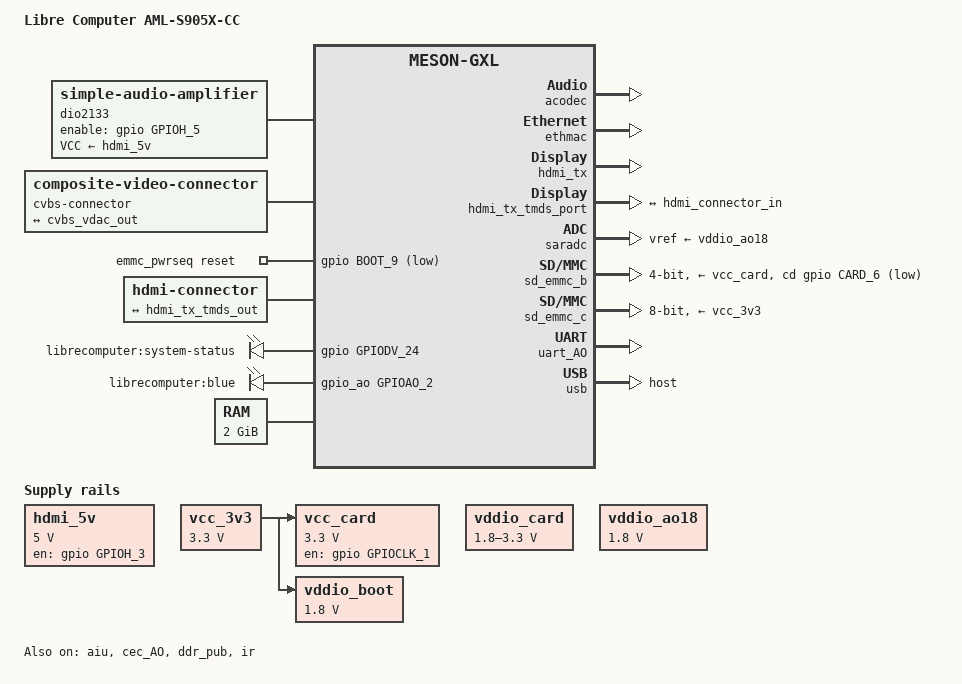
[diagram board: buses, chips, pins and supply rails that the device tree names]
// SPDX-License-Identifier: (GPL-2.0+ OR MIT)
/*
 * Copyright (c) 2017 BayLibre, SAS.
 * Author: Neil Armstrong <narmstrong@baylibre.com>
 * Author: Jerome Brunet <jbrunet@baylibre.com>
 */

/*
 * AML-S905X-CC board body, shared by the two firmware layouts this board
 * boots: meson-gxl-s905x-libretech-cc.dts (vendor chain) and
 * meson-gxl-s905x-libretech-cc-libre.dts (libre chain). The firmware
 * reservations are the leaf's, never this file's.
 */

#include <dt-bindings/input/input.h>
#include <dt-bindings/sound/meson-aiu.h>

#include "meson-gxl-s905x.dtsi"

/ {
	compatible = "libretech,aml-s905x-cc", "amlogic,s905x",
		     "amlogic,meson-gxl";
	model = "Libre Computer AML-S905X-CC";

	aliases {
		serial0 = &uart_AO;
		ethernet0 = &ethmac;
	};

	dio2133: analog-amplifier {
		compatible = "simple-audio-amplifier";
		sound-name-prefix = "AU2";
		VCC-supply = <&hdmi_5v>;
		enable-gpios = <&gpio GPIOH_5 GPIO_ACTIVE_HIGH>;
	};

	chosen {
		stdout-path = "serial0:115200n8";
	};

	cvbs-connector {
		compatible = "composite-video-connector";

		port {
			cvbs_connector_in: endpoint {
				remote-endpoint = <&cvbs_vdac_out>;
			};
		};
	};

	emmc_pwrseq: emmc-pwrseq {
		compatible = "mmc-pwrseq-emmc";
		reset-gpios = <&gpio BOOT_9 GPIO_ACTIVE_LOW>;
	};

	hdmi-connector {
		compatible = "hdmi-connector";
		type = "a";

		port {
			hdmi_connector_in: endpoint {
				remote-endpoint = <&hdmi_tx_tmds_out>;
			};
		};
	};

	leds {
		compatible = "gpio-leds";

		led-system {
			label = "librecomputer:system-status";
			gpios = <&gpio GPIODV_24 GPIO_ACTIVE_HIGH>;
			default-state = "on";
			panic-indicator;
		};

		led-blue {
			label = "librecomputer:blue";
			gpios = <&gpio_ao GPIOAO_2 GPIO_ACTIVE_HIGH>;
			linux,default-trigger = "heartbeat";
		};
	};

	memory@0 {
		device_type = "memory";
		reg = <0x0 0x0 0x0 0x80000000>;
	};

	hdmi_5v: regulator-hdmi-5v {
		compatible = "regulator-fixed";

		regulator-name = "HDMI_5V";
		regulator-min-microvolt = <5000000>;
		regulator-max-microvolt = <5000000>;

		gpio = <&gpio GPIOH_3 GPIO_ACTIVE_HIGH>;
		enable-active-high;
		regulator-always-on;
	};

	vcc_3v3: regulator-vcc-3v3 {
		compatible = "regulator-fixed";
		regulator-name = "VCC_3V3";
		regulator-min-microvolt = <3300000>;
		regulator-max-microvolt = <3300000>;
	};

	vcc_card: regulator-vcc-card {
		compatible = "regulator-fixed";
		regulator-name = "VCC_CARD";
		regulator-min-microvolt = <3300000>;
		regulator-max-microvolt = <3300000>;
		vin-supply = <&vcc_3v3>;

		gpio = <&gpio GPIOCLK_1 GPIO_ACTIVE_HIGH>;
		enable-active-high;
	};

	vddio_card: regulator-vddio-card {
		compatible = "regulator-gpio";
		regulator-name = "VDDIO_CARD";
		regulator-min-microvolt = <1800000>;
		regulator-max-microvolt = <3300000>;

		gpios = <&gpio_ao GPIOAO_3 GPIO_ACTIVE_HIGH>;
		gpios-states = <0>;

		states = <3300000 0>,
			 <1800000 1>;

		regulator-settling-time-up-us = <200>;
		regulator-settling-time-down-us = <50000>;
	};

	vddio_ao18: regulator-vddio-ao18 {
		compatible = "regulator-fixed";
		regulator-name = "VDDIO_AO18";
		regulator-min-microvolt = <1800000>;
		regulator-max-microvolt = <1800000>;
	};

	/* This is provided by LDOs on the eMMC daugther card */
	vddio_boot: regulator-vddio-boot {
		compatible = "regulator-fixed";
		regulator-name = "VDDIO_BOOT";
		regulator-min-microvolt = <1800000>;
		regulator-max-microvolt = <1800000>;
		vin-supply = <&vcc_3v3>;
	};

	sound {
		compatible = "amlogic,gx-sound-card";
		model = "LIBRETECH-CC";
		audio-aux-devs = <&dio2133>;
		audio-widgets = "Line", "Lineout";
		audio-routing = "AU2 INL", "ACODEC LOLN",
				"AU2 INR", "ACODEC LORN",
				"Lineout", "AU2 OUTL",
				"Lineout", "AU2 OUTR";
		clocks = <&clkc CLKID_MPLL0>,
			 <&clkc CLKID_MPLL1>,
			 <&clkc CLKID_MPLL2>;

		assigned-clocks = <&clkc CLKID_MPLL0>,
				  <&clkc CLKID_MPLL1>,
				  <&clkc CLKID_MPLL2>;
		assigned-clock-parents = <0>, <0>, <0>;
		assigned-clock-rates = <294912000>,
				       <270950400>,
				       <393216000>;

		dai-link-0 {
			sound-dai = <&aiu AIU_CPU CPU_I2S_FIFO>;
		};

		dai-link-1 {
			sound-dai = <&aiu AIU_CPU CPU_I2S_ENCODER>;
			dai-format = "i2s";
			mclk-fs = <256>;

			codec-0 {
				sound-dai = <&aiu AIU_HDMI CTRL_I2S>;
			};

			codec-1 {
				sound-dai = <&aiu AIU_ACODEC CTRL_I2S>;
			};
		};

		dai-link-2 {
			sound-dai = <&aiu AIU_HDMI CTRL_OUT>;

			codec-0 {
				sound-dai = <&hdmi_tx>;
			};
		};

		dai-link-3 {
			sound-dai = <&aiu AIU_ACODEC CTRL_OUT>;

			codec-0 {
				sound-dai = <&acodec>;
			};
		};
	};
};

&acodec {
	AVDD-supply = <&vddio_ao18>;
	status = "okay";
};

&aiu {
	status = "okay";
};

&cec_AO {
	status = "okay";
	pinctrl-0 = <&ao_cec_pins>;
	pinctrl-names = "default";
	hdmi-phandle = <&hdmi_tx>;
};

&cvbs_vdac_port {
	cvbs_vdac_out: endpoint {
		remote-endpoint = <&cvbs_connector_in>;
	};
};

/* PUB VT reads verified on Linux, open chain: enable the monitor. */
&ddr_pub {
	status = "okay";
};

&ethmac {
	status = "okay";
};

&internal_phy {
	pinctrl-0 = <&eth_link_led_pins>, <&eth_act_led_pins>;
	pinctrl-names = "default";
};

&ir {
	status = "okay";
	pinctrl-0 = <&remote_input_ao_pins>;
	pinctrl-names = "default";
};

&hdmi_tx {
	status = "okay";
	pinctrl-0 = <&hdmi_hpd_pins>, <&hdmi_i2c_pins>;
	pinctrl-names = "default";
	hdmi-supply = <&hdmi_5v>;
};

&hdmi_tx_tmds_port {
	hdmi_tx_tmds_out: endpoint {
		remote-endpoint = <&hdmi_connector_in>;
	};
};

&gpio_ao {
	gpio-line-names = "UART TX",
			  "UART RX",
			  "Blue LED",
			  "SDCard Voltage Switch",
			  "7J1 Header Pin5",
			  "7J1 Header Pin3",
			  "7J1 Header Pin12",
			  "IR In",
			  "9J3 Switch HDMI CEC/7J1 Header Pin11",
			  "7J1 Header Pin13",
			  /* GPIO_TEST_N */
			  "7J1 Header Pin15";
};

&gpio {
	gpio-line-names = /* Bank GPIOZ */
			  "", "", "", "", "", "", "",
			  "", "", "", "", "", "", "",
			  "Eth Link LED", "Eth Activity LED",
			  /* Bank GPIOH */
			  "HDMI HPD", "HDMI SDA", "HDMI SCL",
			  "HDMI_5V_EN", "9J1 Header Pin2",
			  "Analog Audio Mute",
			  "2J3 Header Pin6",
			  "2J3 Header Pin5",
			  "2J3 Header Pin4",
			  "2J3 Header Pin3",
			  /* Bank BOOT */
			  "eMMC D0", "eMMC D1", "eMMC D2", "eMMC D3",
			  "eMMC D4", "eMMC D5", "eMMC D6", "eMMC D7",
			  "eMMC Clk", "eMMC Reset", "eMMC CMD",
			  "ALT BOOT MODE", "", "", "", "eMMC Data Strobe",
			  /* Bank CARD */
			  "SDCard D1", "SDCard D0", "SDCard CLK", "SDCard CMD",
			  "SDCard D3", "SDCard D2", "SDCard Det",
			  /* Bank GPIODV */
			  "", "", "", "", "", "", "", "", "", "", "", "",
			  "", "", "", "", "", "", "", "", "", "", "", "",
			  "Green LED", "VCCK Enable",
			  "7J1 Header Pin27", "7J1 Header Pin28",
			  "VCCK Regulator", "VDDEE Regulator",
			  /* Bank GPIOX */
			  "7J1 Header Pin22", "7J1 Header Pin26",
			  "7J1 Header Pin36", "7J1 Header Pin38",
			  "7J1 Header Pin40", "7J1 Header Pin37",
			  "7J1 Header Pin33", "7J1 Header Pin35",
			  "7J1 Header Pin19", "7J1 Header Pin21",
			  "7J1 Header Pin24", "7J1 Header Pin23",
			  "7J1 Header Pin8", "7J1 Header Pin10",
			  "7J1 Header Pin16", "7J1 Header Pin18",
			  "7J1 Header Pin32", "7J1 Header Pin29",
			  "7J1 Header Pin31",
			  /* Bank GPIOCLK */
			  "7J1 Header Pin7", "VCC_CARD EN";
};

&saradc {
	status = "okay";
	vref-supply = <&vddio_ao18>;
};

/* SD card */
&sd_emmc_b {
	status = "okay";
	pinctrl-0 = <&sdcard_pins>;
	pinctrl-1 = <&sdcard_clk_gate_pins>;
	pinctrl-names = "default", "clk-gate";

	bus-width = <4>;
	cap-sd-highspeed;
	sd-uhs-sdr50;
	sd-uhs-ddr50;
	sd-uhs-sdr104;
	max-frequency = <166666667>;
	disable-wp;

	cd-gpios = <&gpio CARD_6 GPIO_ACTIVE_LOW>;

	vmmc-supply = <&vcc_card>;
	vqmmc-supply = <&vddio_card>;
};

/* eMMC */
&sd_emmc_c {
	status = "okay";
	/* HS200 max: no HS400; do not claim emmc_ds (BOOT_15) */
	pinctrl-0 = <&emmc_pins>;
	pinctrl-1 = <&emmc_clk_gate_pins>;
	pinctrl-names = "default", "clk-gate";

	bus-width = <8>;
	cap-mmc-highspeed;
	mmc-ddr-1_8v;
	mmc-hs200-1_8v;
	max-frequency = <200000000>;
	disable-wp;

	mmc-pwrseq = <&emmc_pwrseq>;
	vmmc-supply = <&vcc_3v3>;
	vqmmc-supply = <&vddio_boot>;
};

&uart_AO {
	status = "okay";
	pinctrl-0 = <&uart_ao_a_pins>;
	pinctrl-names = "default";
};

&usb {
	status = "okay";
	dr_mode = "host";
};

&usb2_phy0 {
	/*
	 * even though the schematics don't show it:
	 * HDMI_5V is also used as supply for the USB VBUS.
	 */
	phy-supply = <&hdmi_5v>;
};

/ {
	reserved-memory {
		linux,cma {
			/*
			 * 384 MiB. NOT 7/32 of RAM (448 MiB at 2 GiB): what
			 * binds is the largest CONTIGUOUS run under the 1 GiB
			 * alloc-ranges ceiling u-boot writes, and the KASLR'd
			 * kernel image lands inside it. hwrom@0 + secmon@5000000
			 * + ramoops@7400000 leave a 904 MiB run; a ~72 MiB image
			 * at the worst point halves it to 416 MiB, which is the
			 * largest request satisfiable on EVERY boot. 448 exceeds
			 * it and falls silently to the 128 MiB Kconfig default
			 * on a minority of boots.
			 */
			size = <0x0 0x18000000>;
		};
	};
};

/*
 * Open-SC SCMI package (N30): the same shape the AML-S905X-CC-V2 board DTS
 * has shipped since 2f08e6bb30609, mirrored onto v1 now that v1's own board
 * contract cells are sourced (scp-firmware boards/aml-s905x-cc.c, scmi-plan
 * G5/D5+D6) and the v1-built SC payload boots paired under the SPL board-id
 * guard (defconfig CONFIG_MESON_GXL_SCP_BOARD_ID=0x1).  This is the DT half
 * of the N27 reconciliation: v1 always had the NS fixup COMPILED
 * (be165435a3d era), what it never had was the package the fixup flips.
 *
 * This board also ships two firmware builds that boot this one DTB: the
 * vendor chain, whose BL30 speaks SCPI on MHU channel 2 / cpu_scp_hpri, and
 * the open chain (u-boot libretech-cc_libre_defconfig), whose SC answers
 * SCMI on the same mailbox and the same shared memory. The DTB cannot know
 * which is flashed, so the open-chain U-Boot says so at boot: its
 * ft_board_setup() (CONFIG_MESON_GX_LIBRE_SCMI_FIXUP) flips the nodes below
 * to "okay", flips /scpi to "disabled", and points each CPU's `clocks` at
 * protocol@14 and `power-domains` at protocol@13 -- but ONLY after one SCMI
 * BASE PROTOCOL_VERSION on the NS channel is ANSWERED (the guard's v2 path:
 * on a mute SC every flip is skipped and the board boots with the DTB's own
 * clocks). The vendor chain never touches them, so on a vendor boot this
 * whole block is inert and /scpi stays the CPU clock provider exactly as
 * before.
 *
 * Every node the fixup must find carries a label: the kernel's dtc emits a
 * phandle for a labelled node (-@, CONFIG_OF_OVERLAY), and the fixup refuses
 * -- and says so -- rather than mint one.
 *
 * Address map -- SoC-family facts already carried by this dtsi pair (the
 * mailbox and sram nodes are meson-gx.dtsi's own): MHU doorbell
 * mailbox@404 -> 0xC883C404 (amlogic,meson-gxbb-mhu), channel 2 = HP = the
 * OSPM channel; NS shmem cpu_scp_hpri = sram@c8000000 + 0x13400, 0x400
 * (only KiB 76/77 of that SRAM are non-secure permitted).  Reference: the
 * v2 board's comment block, which this mirrors verbatim on the family
 * constants.
 *
 * NODE ORDER IS LOAD-BEARING -- protocol@14 MUST come before protocol@13:
 * scmi-cpufreq's OPP setup resolves the CPUs' `clocks` phandle into the
 * clock provider, and with perf ahead of clock every OPP add fails with -19
 * and no cpufreq policy exists.  Measured both ways on hardware on v2.
 * Do not tidy this list.
 *
 * SENSOR (0x15): the open SC serves the die temperature as SCMI sensor 2,
 * "soc-temp", millidegrees, from this die's eFuse thermal trim (claude
 * amlogic n1225), and its adaptive refresh governor takes one sample per
 * read (n1226/n1227) -- so the soc-thermal zone below polls every second.  The
 * zone exists only when scmi-hwmon binds, i.e. on the open chain; a vendor
 * boot leaves /firmware/scmi disabled and nothing here registers.
 */
&cpu_scp_hpri {
	compatible = "arm,scmi-shmem", "amlogic,meson-gxbb-scp-shmem";
};

&cpu_scp_lpri {
	compatible = "arm,scmi-shmem", "amlogic,meson-gxbb-scp-shmem";
};

/ {
	firmware {
		scmi: scmi {
			compatible = "arm,scmi";
			status = "disabled";

			/*
			 * tx = MHU ch2 (HP / OSPM requests) on cpu_scp_hpri, rx =
			 * MHU ch1 (LP / SCP -> AP notifications) on cpu_scp_lpri:
			 * the v2 board's shape (arm_scmi mailbox transport, two
			 * mboxes + two shmems).  With only tx, a notification the
			 * SC posts into lpri is never consumed and every later one
			 * is dropped.  An SC without SCP_GXL_LP_TRANSPORT simply
			 * never rings ch1; requests stay on ch2.
			 */
			mboxes = <&mailbox 2>, <&mailbox 1>;
			mbox-names = "tx", "rx";
			shmem = <&cpu_scp_hpri>, <&cpu_scp_lpri>;

			#address-cells = <1>;
			#size-cells = <0>;

			scmi_power: protocol@11 {
				reg = <0x11>;
				#power-domain-cells = <1>;
			};

			scmi_clk: protocol@14 {
				reg = <0x14>;
				#clock-cells = <1>;
			};

			scmi_syspower: protocol@12 {
				reg = <0x12>;
			};

			scmi_perf: protocol@13 {
				reg = <0x13>;
				#power-domain-cells = <1>;
			};

			scmi_sensor: protocol@15 {
				reg = <0x15>;
				#thermal-sensor-cells = <1>;
			};
		};
	};

	/*
	 * The open chain's die-temperature zone.  U-Boot's SCMI fixup disables
	 * /scpi there, so meson-gx.dtsi's cpu-thermal (on &scpi_sensors) never
	 * registers; this zone carries the same throttling it would have --
	 * passive 80 C and hot 90 C on the CPUs, hot on vdec and ge2d -- so the
	 * open chain is not left with a shutdown as its only thermal action.  On
	 * the vendor chain /firmware/scmi stays disabled, this zone never
	 * registers, and cpu-thermal does the same job.
	 */
	thermal-zones {
		soc-thermal {
			polling-delay = <1000>;
			polling-delay-passive = <250>;
			thermal-sensors = <&scmi_sensor 2>;

			trips {
				soc_passive: soc-passive {
					temperature = <80000>;
					hysteresis = <2000>;
					type = "passive";
				};

				soc_hot: soc-hot {
					temperature = <90000>;
					hysteresis = <2000>;
					type = "hot";
				};

				soc_crit: soc-crit {
					temperature = <105000>;
					hysteresis = <2000>;
					type = "critical";
				};
			};

			cooling-maps {
				map0 {
					trip = <&soc_passive>;
					cooling-device = <&cpu0 THERMAL_NO_LIMIT THERMAL_NO_LIMIT>,
							 <&cpu1 THERMAL_NO_LIMIT THERMAL_NO_LIMIT>,
							 <&cpu2 THERMAL_NO_LIMIT THERMAL_NO_LIMIT>,
							 <&cpu3 THERMAL_NO_LIMIT THERMAL_NO_LIMIT>;
				};

				map1 {
					trip = <&soc_hot>;
					cooling-device = <&cpu0 THERMAL_NO_LIMIT THERMAL_NO_LIMIT>,
							 <&cpu1 THERMAL_NO_LIMIT THERMAL_NO_LIMIT>,
							 <&cpu2 THERMAL_NO_LIMIT THERMAL_NO_LIMIT>,
							 <&cpu3 THERMAL_NO_LIMIT THERMAL_NO_LIMIT>;
				};

				map_vdec {
					trip = <&soc_hot>;
					cooling-device = <&vdec THERMAL_NO_LIMIT THERMAL_NO_LIMIT>;
				};

				map_ge2d {
					trip = <&soc_hot>;
					cooling-device = <&ge2d THERMAL_NO_LIMIT THERMAL_NO_LIMIT>;
				};
			};
		};
	};
};
